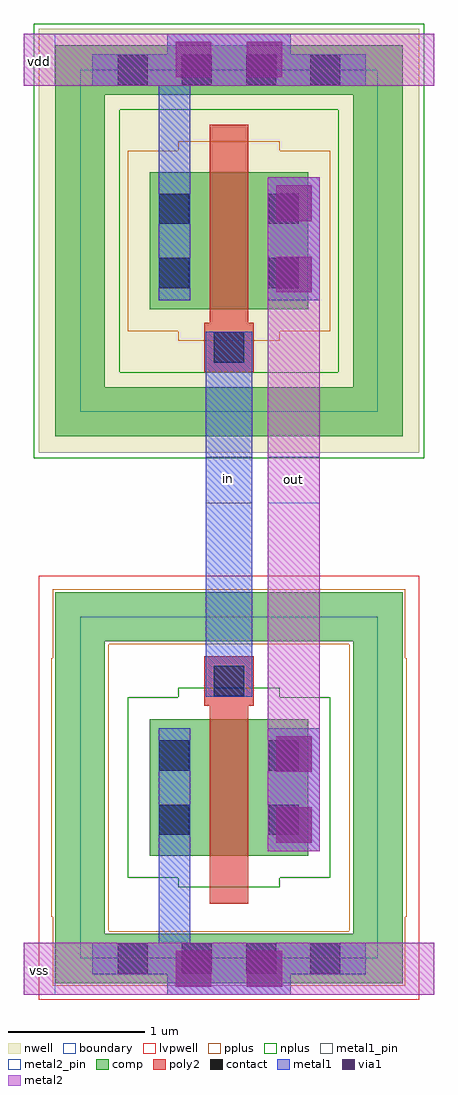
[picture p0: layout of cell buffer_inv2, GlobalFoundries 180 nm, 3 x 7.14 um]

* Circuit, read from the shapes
.subckt buffer_inv2 in out vdd vss
XM1 out in vss vss nfet_03v3 w=1u l=0.28u
XM2 out in vdd vdd pfet_03v3 w=1u l=0.28u
.ends

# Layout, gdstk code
from math import pi, radians
import gdstk
lib = gdstk.Library(unit=1e-6, precision=1e-09)
def R(c, l, rs):  # rectangles x0, y0, x1, y1
    for r in rs: c.add(gdstk.rectangle(r[:2], r[2:], *l))
def A(c, l, x, y, w, h, nx, ny, dx, dy):  # array of equal rectangles
    R(c, l, [(x+i*dx, y+j*dy, x+i*dx+w, y+j*dy+h) for i in range(nx) for j in range(ny)])
boundary = (0, 0)
nwell = (21, 0)
comp = (22, 0)
poly2 = (30, 0)
pplus = (31, 0)
nplus = (32, 0)
contact = (33, 0)
metal1 = (34, 0)
metal1_pin = (34, 10)
via1 = (35, 0)
metal2 = (36, 0)
metal2_pin = (36, 10)
lvpwell = (204, 0)

xm1_buffer_inv2 = lib.new_cell('XM1_buffer_inv2')
R(xm1_buffer_inv2, boundary, [(-1.09,-1.75,1.09,0.75)])
R(xm1_buffer_inv2, comp, [(-1.27,-1.93,1.27,-1.57), (-1.27,-1.57,-0.91,0.57), (0.91,-1.57,1.27,0.57), (-0.58,-1,0.58,0), (-1.27,0.57,1.27,0.93)])
R(xm1_buffer_inv2, poly2, [(-0.14,-1.35,0.14,0.1), (-0.18,0.1,0.18,0.46)])
R(xm1_buffer_inv2, pplus, [(-1.29,-1.95,1.29,-1.55), (-1.29,-1.55,-0.88,-1.445), (0.88,-1.55,1.29,-1.445), (-1.3,-1.445,-0.88,0.445), (0.88,-1.445,1.3,0.445), (-1.29,0.445,-0.88,0.55), (0.88,0.445,1.29,0.55), (-1.29,0.55,1.29,0.95)])
R(xm1_buffer_inv2, nplus, [(-0.37,-1.23,0.37,-1.16), (-0.74,-1.16,0.74,0.16), (-0.37,0.16,0.37,0.23)])
A(xm1_buffer_inv2, contact, -0.815, -1.86, 0.22, 0.22, 4, 1, 0.47, 0)
R(xm1_buffer_inv2, contact, [(-0.51,-0.845,-0.29,-0.625), (0.29,-0.845,0.51,-0.625), (-0.51,-0.375,-0.29,-0.155), (0.29,-0.375,0.51,-0.155), (-0.11,0.17,0.11,0.39)])
R(xm1_buffer_inv2, metal1, [(-1,-1.865,1,-1.635), (-0.515,-1.75,-0.285,-0.065), (0.285,-0.935,0.515,-0.065), (-0.17,0.165,0.17,0.395)])
R(xm1_buffer_inv2, lvpwell, [(-1.39,-2.05,1.39,1.05)])
xm1_buffer_inv2.add(gdstk.Label('D', (0.39,-0.12), layer=34, texttype=0))
xm1_buffer_inv2.add(gdstk.Label('S', (-0.415,-0.125), layer=34, texttype=0))
xm1_buffer_inv2.add(gdstk.Label('G', (-0.015,-0.125), layer=30, texttype=10))

xm2_buffer_inv2 = lib.new_cell('XM2_buffer_inv2')
R(xm2_buffer_inv2, boundary, [(-1.09,-1.25,1.09,1.25)])
R(xm2_buffer_inv2, nwell, [(-1.39,-1.55,1.39,1.55)])
R(xm2_buffer_inv2, comp, [(-1.27,-1.43,1.27,-1.07), (-1.27,-1.07,-0.91,1.07), (0.91,-1.07,1.27,1.07), (-0.58,-0.5,0.58,0.5), (-1.27,1.07,1.27,1.43)])
R(xm2_buffer_inv2, poly2, [(-0.14,-0.85,0.14,0.6), (-0.18,0.6,0.18,0.96)])
R(xm2_buffer_inv2, pplus, [(-0.37,-0.73,0.37,-0.66), (-0.74,-0.66,0.74,0.66), (-0.37,0.66,0.37,0.73)])
R(xm2_buffer_inv2, nplus, [(-1.43,-1.59,1.43,-0.96), (-1.43,-0.96,-0.8,0.96), (0.8,-0.96,1.43,0.96), (-1.43,0.96,1.43,1.59)])
A(xm2_buffer_inv2, contact, -0.815, -1.36, 0.22, 0.22, 4, 1, 0.47, 0)
R(xm2_buffer_inv2, contact, [(-0.51,-0.345,-0.29,-0.125), (0.29,-0.345,0.51,-0.125), (-0.51,0.125,-0.29,0.345), (0.29,0.125,0.51,0.345), (-0.11,0.67,0.11,0.89)])
R(xm2_buffer_inv2, metal1, [(-1,-1.365,1,-1.135), (0.285,-1.25,0.515,0.435), (-0.515,-0.435,-0.285,0.435), (-0.17,0.665,0.17,0.895)])
xm2_buffer_inv2.add(gdstk.Label('S', (0.385,-0.125), layer=34, texttype=0))
xm2_buffer_inv2.add(gdstk.Label('D', (-0.415,-0.125), layer=34, texttype=0))
xm2_buffer_inv2.add(gdstk.Label('G', (-0.015,-0.125), layer=30, texttype=10))

buffer_inv2 = lib.new_cell('buffer_inv2')
R(buffer_inv2, metal1, [(-0.45,-5.515,0.45,-5.135), (0.285,-4.465,0.665,-3.565), (-0.17,-3.335,0.17,-0.665), (0.285,-0.435,0.665,0.465), (-0.45,1.135,0.45,1.515)])
R(buffer_inv2, metal1_pin, [(-0.17,-1.92,0.17,-1.58)])
R(buffer_inv2, via1, [(-0.39,-5.455,-0.13,-5.195), (0.13,-5.455,0.39,-5.195), (0.345,-4.405,0.605,-4.145), (0.345,-3.885,0.605,-3.625), (0.345,-0.375,0.605,-0.115), (0.345,0.145,0.605,0.405), (-0.39,1.195,-0.13,1.455), (0.13,1.195,0.39,1.455)])
R(buffer_inv2, metal2, [(-1.5,-5.515,1.5,-5.135), (-1.5,-5.515,-1.27,-5.135), (-0.45,-5.515,0.45,-5.135), (0.285,-4.465,0.665,-3.565), (0.285,-4.465,0.665,0.465), (0.285,-0.435,0.665,0.465), (-1.5,1.135,1.5,1.515), (-1.5,1.135,-1.27,1.515), (-0.45,1.135,0.45,1.515)])
R(buffer_inv2, metal2_pin, [(-1.5,-5.515,-1.27,-5.135), (0.285,-1.92,0.665,-1.58), (-1.5,1.135,-1.27,1.515)])
buffer_inv2.add(gdstk.Reference(xm1_buffer_inv2, (0,-3.5)))
buffer_inv2.add(gdstk.Reference(xm2_buffer_inv2, (0,0), rotation=pi))
buffer_inv2.add(gdstk.Label('in', (-0.001,-1.737), layer=34, texttype=10))
buffer_inv2.add(gdstk.Label('vdd', (-1.385,1.31), layer=36, texttype=10))
buffer_inv2.add(gdstk.Label('vss', (-1.385,-5.34), layer=36, texttype=10))
buffer_inv2.add(gdstk.Label('out', (0.47,-1.748), layer=36, texttype=10))

lib.write_gds('buffer_inv2.gds')
